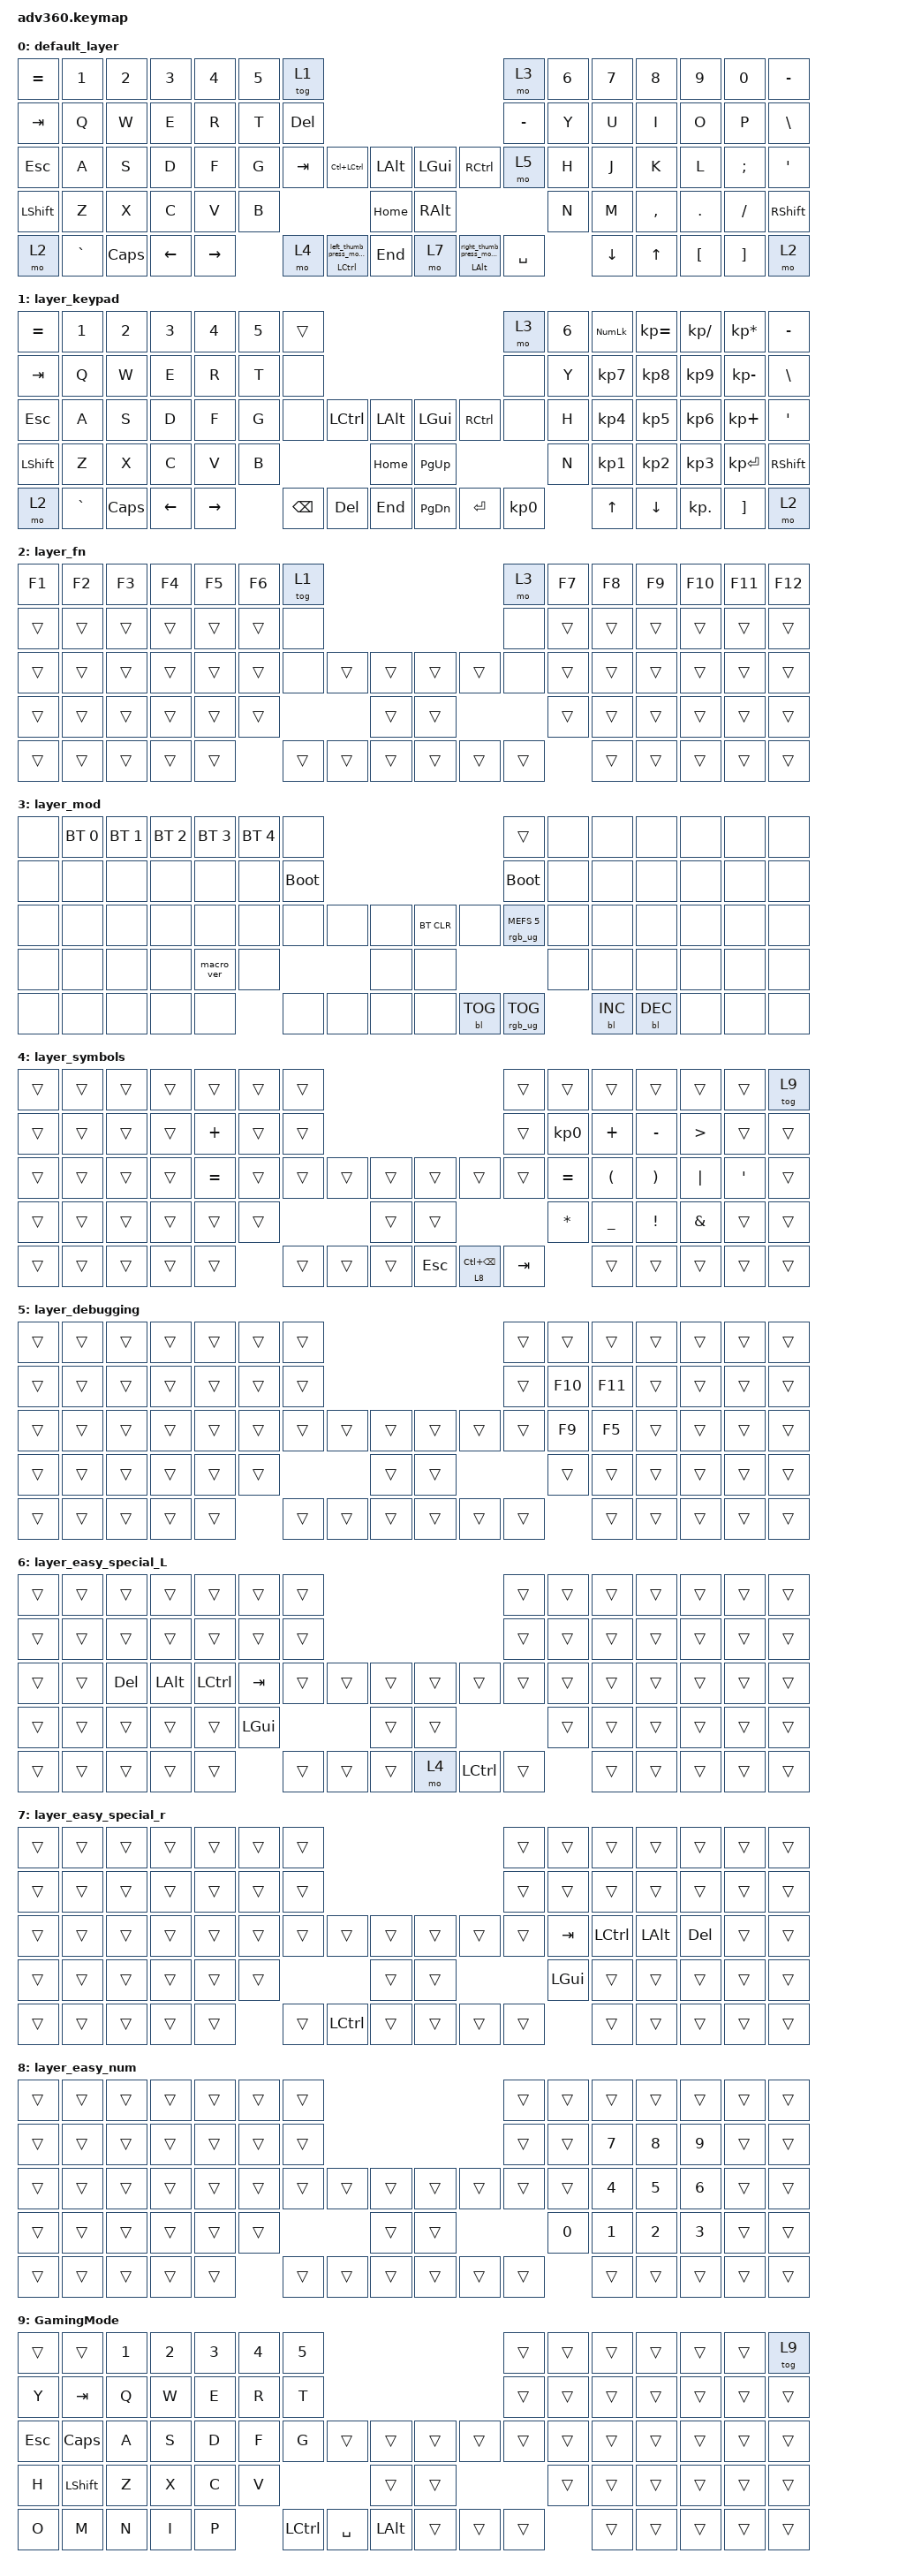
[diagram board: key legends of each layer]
/*
 * Copyright (c) 2020 The ZMK Contributors
 *
 * SPDX-License-Identifier: MIT
 */
/* THIS FILE WAS GENERATED!
 *
 * This file was generated automatically. You may or may not want to
 * edit it directly.
 */

#include <behaviors.dtsi>
#include <dt-bindings/zmk/backlight.h>
#include <dt-bindings/zmk/bt.h>
#include <dt-bindings/zmk/keys.h>
#include <dt-bindings/zmk/rgb.h>

/ {
    behaviors {
        #include "macros.dtsi"
    #include "version.dtsi"

        hm: homerow_mods {
            compatible = "zmk,behavior-hold-tap";
            label = "HOMEROW_MODS";
            #binding-cells = <2>;
            tapping-term-ms = <200>;
            quick_tap_ms = <175>;
            flavor = "tap-preferred";
            bindings = <&kp>, <&kp>;
        };

        left_thumb_bh: left_thumb_bh {
            compatible = "zmk,behavior-hold-tap";
            label = "LEFT_THUMB_BH";
            bindings = <&kp>, <&left_thumb_press_morph>;

            #binding-cells = <2>;
            tapping-term-ms = <200>;
            flavor = "balanced";
        };

        left_thumb_press_morph: left_thumb_press_morph {
            compatible = "zmk,behavior-mod-morph";
            label = "LEFT_THUMB_PRESS_MORPH";
            bindings = <&kp BACKSPACE>, <&kp TAB>;

            #binding-cells = <0>;
            mods = <(MOD_LALT)>;
            keep-mods = <(MOD_LALT)>;
        };

        right_thumb_press_morph: right_thumb_press_morph {
            compatible = "zmk,behavior-mod-morph";
            label = "RIGHT_THUMB_PRESS_MORPH";
            bindings = <&kp ENTER>, <&kp TAB>;

            #binding-cells = <0>;
            mods = <(MOD_LCTL)>;
            keep-mods = <(MOD_LCTL)>;
        };

        right_thumb_bh: right_thumb_bh {
            compatible = "zmk,behavior-hold-tap";
            label = "RIGHT_THUMB_BH";
            bindings = <&kp>, <&right_thumb_press_morph>;

            #binding-cells = <2>;
            tapping-term-ms = <200>;
            flavor = "balanced";
        };
    };

    keymap {
        compatible = "zmk,keymap";

        default_layer {
            bindings = <
&kp EQUAL  &kp N1     &kp N2    &kp N3    &kp N4     &kp N5  &tog 1                                                                                  &mo 3      &kp N6  &kp N7    &kp N8     &kp N9    &kp N0    &kp MINUS
&kp TAB    &kp Q      &kp W     &kp E     &kp R      &kp T   &kp DELETE                                                                              &kp MINUS  &kp Y   &kp U     &kp I      &kp O     &kp P     &kp BSLH
&kp ESC    &kp A      &kp S     &kp D     &kp F      &kp G   &kp TAB     &kp LC(LEFT_CONTROL)    &kp LEFT_ALT      &kp LGUI  &kp RCTRL               &mo 5      &kp H   &kp J     &kp K      &kp L     &kp SEMI  &kp SQT
&kp LSHFT  &kp Z      &kp X     &kp C     &kp V      &kp B                                       &kp HOME          &kp RALT                                     &kp N   &kp M     &kp COMMA  &kp DOT   &kp FSLH  &kp RSHFT
&mo 2      &kp GRAVE  &kp CAPS  &kp LEFT  &kp RIGHT          &mo 4       &left_thumb_bh LCTRL 0  &kp END           &mo 7     &right_thumb_bh LALT 0  &kp SPACE          &kp DOWN  &kp UP     &kp LBKT  &kp RBKT  &mo 2
            >;
        };

        layer_keypad {
            bindings = <
&kp EQUAL  &kp N1     &kp N2    &kp N3    &kp N4     &kp N5  &trans                                                   &mo 3      &kp N6  &kp KP_NUM  &kp KP_EQUAL  &kp KP_DIVIDE  &kp KP_MULTIPLY  &kp MINUS
&kp TAB    &kp Q      &kp W     &kp E     &kp R      &kp T   &none                                                    &none      &kp Y   &kp KP_N7   &kp KP_N8     &kp KP_N9      &kp KP_MINUS     &kp BSLH
&kp ESC    &kp A      &kp S     &kp D     &kp F      &kp G   &none     &kp LCTRL  &kp LALT      &kp LGUI   &kp RCTRL  &none      &kp H   &kp KP_N4   &kp KP_N5     &kp KP_N6      &kp KP_PLUS      &kp SQT
&kp LSHFT  &kp Z      &kp X     &kp C     &kp V      &kp B                        &kp HOME      &kp PG_UP                        &kp N   &kp KP_N1   &kp KP_N2     &kp KP_N3      &kp KP_ENTER     &kp RSHFT
&mo 2      &kp GRAVE  &kp CAPS  &kp LEFT  &kp RIGHT          &kp BSPC  &kp DEL    &kp END       &kp PG_DN  &kp ENTER  &kp KP_N0          &kp UP      &kp DOWN      &kp KP_DOT     &kp RBKT         &mo 2
            >;
        };

        layer_fn {
            bindings = <
&kp F1  &kp F2  &kp F3  &kp F4  &kp F5  &kp F6  &tog 1                                      &mo 3   &kp F7  &kp F8  &kp F9  &kp F10  &kp F11  &kp F12
&trans  &trans  &trans  &trans  &trans  &trans  &none                                       &none   &trans  &trans  &trans  &trans   &trans   &trans
&trans  &trans  &trans  &trans  &trans  &trans  &none   &trans  &trans      &trans  &trans  &none   &trans  &trans  &trans  &trans   &trans   &trans
&trans  &trans  &trans  &trans  &trans  &trans                  &trans      &trans                  &trans  &trans  &trans  &trans   &trans   &trans
&trans  &trans  &trans  &trans  &trans          &trans  &trans  &trans      &trans  &trans  &trans          &trans  &trans  &trans   &trans   &trans
            >;
        };

        layer_mod {
            bindings = <
&none  &bt BT_SEL 0  &bt BT_SEL 1  &bt BT_SEL 2  &bt BT_SEL 3  &bt BT_SEL 4  &none                                                  &trans                  &none  &none       &none       &none  &none  &none
&none  &none         &none         &none         &none         &none         &bootloader                                            &bootloader             &none  &none       &none       &none  &none  &none
&none  &none         &none         &none         &none         &none         &none        &none  &none      &bt BT_CLR  &none       &rgb_ug RGB_MEFS_CMD 5  &none  &none       &none       &none  &none  &none
&none  &none         &none         &none         &macro_ver    &none                             &none      &none                                           &none  &none       &none       &none  &none  &none
&none  &none         &none         &none         &none                       &none        &none  &none      &none       &bl BL_TOG  &rgb_ug RGB_TOG                &bl BL_INC  &bl BL_DEC  &none  &none  &none
            >;
        };

        layer_symbols {
            bindings = <
&trans  &trans  &trans  &trans  &trans     &trans  &trans                                                    &trans   &trans     &trans                &trans                 &trans            &trans   &tog 9
&trans  &trans  &trans  &trans  &kp PLUS   &trans  &trans                                                    &trans   &kp KP_N0  &kp PLUS              &kp MINUS              &kp GREATER_THAN  &trans   &trans
&trans  &trans  &trans  &trans  &kp EQUAL  &trans  &trans  &trans  &trans      &trans   &trans               &trans   &kp EQUAL  &kp LEFT_PARENTHESIS  &kp RIGHT_PARENTHESIS  &kp PIPE          &kp SQT  &trans
&trans  &trans  &trans  &trans  &trans     &trans                  &trans      &trans                                 &kp STAR   &kp UNDERSCORE        &kp EXCLAMATION        &kp AMPERSAND     &trans   &trans
&trans  &trans  &trans  &trans  &trans             &trans  &trans  &trans      &kp ESC  &lt 8 LC(BACKSPACE)  &kp TAB             &trans                &trans                 &trans            &trans   &trans
            >;
        };

        layer_debugging {
            bindings = <
&trans  &trans  &trans  &trans  &trans  &trans  &trans                                      &trans  &trans   &trans   &trans  &trans  &trans  &trans
&trans  &trans  &trans  &trans  &trans  &trans  &trans                                      &trans  &kp F10  &kp F11  &trans  &trans  &trans  &trans
&trans  &trans  &trans  &trans  &trans  &trans  &trans  &trans  &trans      &trans  &trans  &trans  &kp F9   &kp F5   &trans  &trans  &trans  &trans
&trans  &trans  &trans  &trans  &trans  &trans                  &trans      &trans                  &trans   &trans   &trans  &trans  &trans  &trans
&trans  &trans  &trans  &trans  &trans          &trans  &trans  &trans      &trans  &trans  &trans           &trans   &trans  &trans  &trans  &trans
            >;
        };

        layer_easy_special_L {
            bindings = <
&trans  &trans  &trans   &trans    &trans     &trans    &trans                                         &trans  &trans  &trans  &trans  &trans  &trans  &trans
&trans  &trans  &trans   &trans    &trans     &trans    &trans                                         &trans  &trans  &trans  &trans  &trans  &trans  &trans
&trans  &trans  &kp DEL  &kp LALT  &kp LCTRL  &kp TAB   &trans  &trans  &trans      &trans  &trans     &trans  &trans  &trans  &trans  &trans  &trans  &trans
&trans  &trans  &trans   &trans    &trans     &kp LGUI                  &trans      &trans                     &trans  &trans  &trans  &trans  &trans  &trans
&trans  &trans  &trans   &trans    &trans               &trans  &trans  &trans      &mo 4   &kp LCTRL  &trans          &trans  &trans  &trans  &trans  &trans
            >;
        };

        layer_easy_special_r {
            bindings = <
&trans  &trans  &trans  &trans  &trans  &trans  &trans                                         &trans  &trans    &trans     &trans    &trans   &trans  &trans
&trans  &trans  &trans  &trans  &trans  &trans  &trans                                         &trans  &trans    &trans     &trans    &trans   &trans  &trans
&trans  &trans  &trans  &trans  &trans  &trans  &trans  &trans     &trans      &trans  &trans  &trans  &kp TAB   &kp LCTRL  &kp LALT  &kp DEL  &trans  &trans
&trans  &trans  &trans  &trans  &trans  &trans                     &trans      &trans                  &kp LGUI  &trans     &trans    &trans   &trans  &trans
&trans  &trans  &trans  &trans  &trans          &trans  &kp LCTRL  &trans      &trans  &trans  &trans            &trans     &trans    &trans   &trans  &trans
            >;
        };

        layer_easy_num {
            bindings = <
&trans  &trans  &trans  &trans  &trans  &trans  &trans                                      &trans  &trans  &trans  &trans  &trans  &trans  &trans
&trans  &trans  &trans  &trans  &trans  &trans  &trans                                      &trans  &trans  &kp N7  &kp N8  &kp N9  &trans  &trans
&trans  &trans  &trans  &trans  &trans  &trans  &trans  &trans  &trans      &trans  &trans  &trans  &trans  &kp N4  &kp N5  &kp N6  &trans  &trans
&trans  &trans  &trans  &trans  &trans  &trans                  &trans      &trans                  &kp N0  &kp N1  &kp N2  &kp N3  &trans  &trans
&trans  &trans  &trans  &trans  &trans          &trans  &trans  &trans      &trans  &trans  &trans          &trans  &trans  &trans  &trans  &trans
            >;
        };

        GamingMode {
            bindings = <
&trans   &trans        &kp N1  &kp N2  &kp N3  &kp N4  &kp N5                                              &trans  &trans  &trans  &trans  &trans  &trans  &tog 9
&kp Y    &kp TAB       &kp Q   &kp W   &kp E   &kp R   &kp T                                               &trans  &trans  &trans  &trans  &trans  &trans  &trans
&kp ESC  &kp CAPSLOCK  &kp A   &kp S   &kp D   &kp F   &kp G      &trans     &trans        &trans  &trans  &trans  &trans  &trans  &trans  &trans  &trans  &trans
&kp H    &kp LSHIFT    &kp Z   &kp X   &kp C   &kp V                         &trans        &trans                  &trans  &trans  &trans  &trans  &trans  &trans
&kp O    &kp M         &kp N   &kp I   &kp P           &kp LCTRL  &kp SPACE  &kp LALT      &trans  &trans  &trans          &trans  &trans  &trans  &trans  &trans
            >;
        };
    };
};
